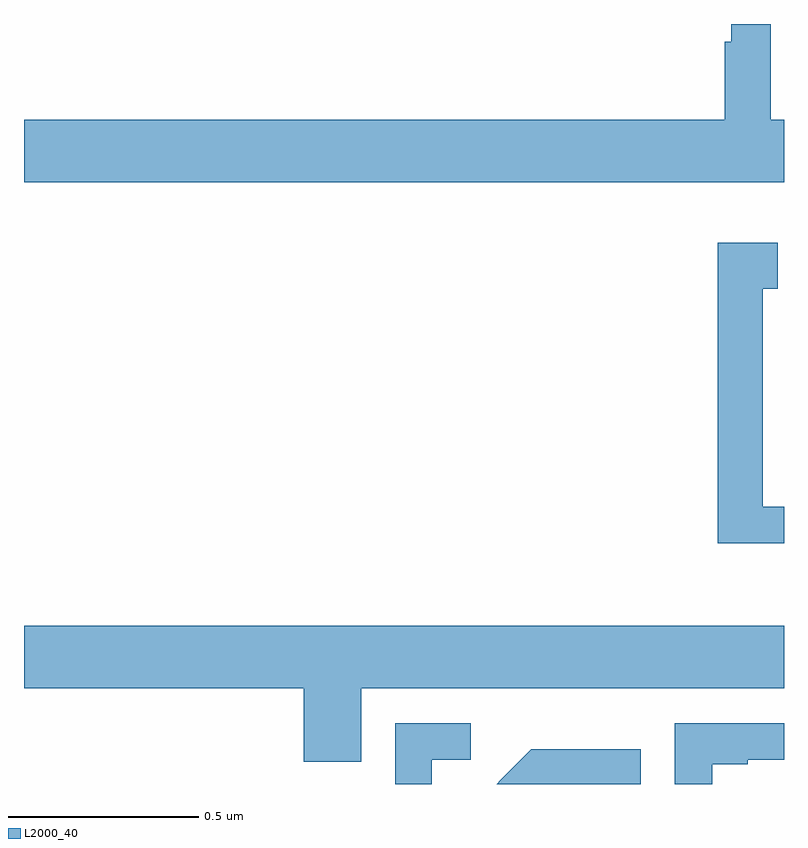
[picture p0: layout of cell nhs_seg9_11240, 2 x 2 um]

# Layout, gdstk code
import gdstk
lib = gdstk.Library(unit=1e-6, precision=1e-09)
def P(c, l, *ps):  # polygons
    for p in ps: c.add(gdstk.Polygon(p, *l))
L2000_40 = (2000, 40)

nhs_seg9_11240 = lib.new_cell('nhs_seg9_11240')
P(nhs_seg9_11240, L2000_40, [(255,1199.248),(254.965,1199.248),(254.965,1199.5),(254.861,1199.5),(254.861,1199.453),(254.844,1199.453),(254.844,1199.248),(253,1199.248),(253,1199.084),(255,1199.084)],
  [(255,1198.23),(254.944,1198.23),(254.944,1198.803),(254.983,1198.803),(254.983,1198.924),(254.826,1198.924),(254.826,1198.133),(255,1198.133)],
  [(253.888,1197.752),(255,1197.752),(255,1197.916),(253,1197.916),(253,1197.752),(253.736,1197.752),(253.736,1197.558),(253.888,1197.558)],
  [(254.073,1197.564),(254.176,1197.564),(254.176,1197.66),(253.977,1197.66),(253.977,1197.5),(254.073,1197.5)],
  [(254.811,1197.552),(254.905,1197.552),(254.905,1197.564),(255,1197.564),(255,1197.66),(254.712,1197.66),(254.712,1197.5),(254.811,1197.5)],
  [(254.623,1197.592),(254.335,1197.592),(254.255,1197.511),(254.244,1197.5),(254.623,1197.5)])

lib.write_gds('nhs_seg9_11240.gds')
